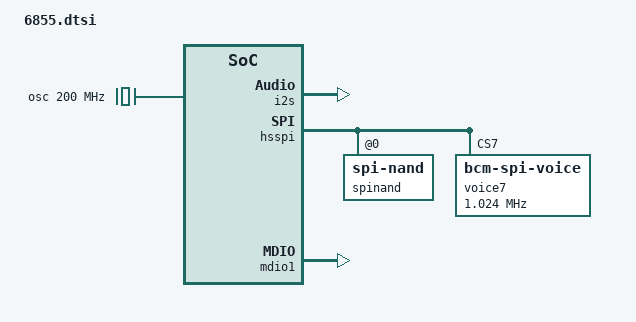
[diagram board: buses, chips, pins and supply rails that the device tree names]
/dts-v1/;

#include "linux_autoconf.h"

#include <dt-bindings/interrupt-controller/arm-gic.h>
#include <dt-bindings/interrupt-controller/irq.h>

#include "../../boot_rsvdmem.dtsi"
#include "../../bcm_thermal.dtsi"

/ {
	#define MODEL "Broadcom BCM96855"
	#define COMPATIBLE "brcm,bcm96855"

	/* memory reservations */
	#include "../../bcm_rsvdmem.dtsi"		

	aliases {
		serial0		= &uart0;
		spi1		= &hsspi; /* 0 = legacy, 1 = high speed */
		hs_serial0	= &hs_uart0;
		spinand0	= &spinand;
		nand0		= &nand;
	};

	chosen {
		stdout-path = "serial0:115200n8";
		bootargs = "coherent_pool=2M cpuidle_sysfs_switch console=ttyAMA0,115200 earlyprintk  rootwait pci=pcie_bus_safe rng_core.default_quality=1024";
	};

	/* memc */
	memory_controller {
		#define MEMC_REG_NAMES	"memc-int-clear-reg", \
					"memc-int-mask-clear-reg",\
					"phyctl_idle_pad_ctl",  \
					"phyctl_idle_pad_en0",  \
					"phyctl_idle_pad_en1",  \
					"phybl0_idle_pad_ctl",  \
					"phybl1_idle_pad_ctl",  \
					"phybl2_idle_pad_ctl",  \
					"phybl3_idle_pad_ctl",  \
					"phybl0_clock_idle",    \
					"phybl1_clock_idle",    \
					"phybl2_clock_idle",    \
					"phybl3_clock_idle",    \
					"auto_self_refresh",    \
					"glb_gcfg"

		#define MEMC_REG	<0x80180E08 4>, \
					<0x80180E14 4>, \
					<0x801A0034 4>, \
					<0x801A0038 4>, \
					<0x801A003C 4>, \
					<0x801A04AC 4>, \
					<0x801A06AC 4>, \
					<0x801A08AC 4>, \
					<0x801A0AAC 4>, \
					<0x801A04E0 4>, \
					<0x801A06E0 4>, \
					<0x801A08E0 4>, \
					<0x801A0AE0 4>, \
					<0x8018025C 4>, \
					<0x80180004 4>

		#define MEMC_CPU_INT_LINE		19

		#include "../../ip/memc.dtsi"
	};

	/* wan type auto detect */
	wantype_detect {
		#define GPON_GENERAL_CONFIG_ADDR	0x828B9000
		#define GPON_GENERAL_CONFIG_SIZE	0x10
		#define EPON_TOP_ADDR			0x828B4000
		#define EPON_TOP_SIZE			0x1C
		#define EPON_LIF_ADDR			0x828B5800
		#define EPON_LIF_SIZE			0x110
		#define EPON_XPCSR_ADDR			0x828B7000
		#define EPON_XPCSR_SIZE			0x124
		#define NGPON_RXGEN_ADDR		0x828BC000
		#define NGPON_RXGEN_SIZE		0x80
		#include "../../ip/bcm_wantype_detect.dtsi"
	};

#if defined(CONFIG_BCM_PCIE_HCD) || defined (CONFIG_BCM_PCIE_HCD_MODULE)
	/* pcie common */
	pcie: pcie {
		compatible = "brcm,bcm-pcie";
		device_type = "cpci";
		brcm,pllclkid = <0x0>;
	};

	/* Internal WiFi Core 0 (virtual pcie with domain#0) */
	vpcie0: vpcie@0 {
		#define WIFI_COREID			0
		#define WIFI_ADDR			0x84000000
		#define WIFI_SIZE			0x01000000
		#define WIFI_DEVID			0x6756
		#define WIFI_CCM_SPI		46
		#define WIFI_D11MAC_SPI		47
		#define WIFI_M2MDMA_SPI		48
		#define WIFI_WDRST_SPI		49
		#include "../../ip/bcm_wifi_core.dtsi"
	};

	/* pcie core 0 */
	pcie0: pcie@0 {
		#define PCIE_ID				0
		#define PCIE_DOMAIN_ID			1
		#define PCIE_SPI			43
		#define PCIE_ADDR			0x80040000
		#define PCIE_SIZE			0x0000A000
		#define PCIE_RANGE_ADDR		0xC0000000
		#define PCIE_RANGE_SIZE		0x10000000
		#include "../../ip/bcm_pcie_core.dtsi"
	};

	/* pcie core 1 */
	pcie1: pcie@1 {
		#define PCIE_ID				1
		#define PCIE_DOMAIN_ID			2
		#define PCIE_SPI			44
		#define PCIE_ADDR			0x80050000
		#define PCIE_SIZE			0x0000A000
		#define PCIE_RANGE_ADDR		0xD0000000
		#define PCIE_RANGE_SIZE		0x10000000
		#include "../../ip/bcm_pcie_core.dtsi"
	};
#endif // defined(CONFIG_BCM_PCIE_HCD) || defined (CONFIG_BCM_PCIE_HCD_MODULE)

	misc_io {
		compatible = "brcm,misc-io";
		misc-periph-chip-id-rev = <0xff800000 0x4>;
		misc-periph-chip-id-mask = <0xfffff000>;
		misc-periph-chip-id-shift = <12>;
		misc-periph-chip-rev-mask = <0xfff>;
		misc-top-chip-id-lc =  <0xff85a034 0x4>;
	};

	/* PMC */
	pmc: pmc {
		#define PMC_REG_OFFSET              0xffb20060
		#define PMC_REG_SIZE                0x1e0
		#include "../../ip/bcm_pmc_lite.dtsi"
	};

	cci: cci {
		#define CCI_OFFSET					0x81100000 
		#define CCI_SIZE					0x8000
		#define SLAVEINTF_CPU_NUM			1
		#include "../../ip/bcm_arm_cci500.dtsi"
	};

    /* usb */
    usb_ctrl: usb_ctrl {
        #define USB_CTRL_ADDR       0x8000c200
        #define USB_CTRL_SIZE       0x100
        #include "../../ip/bcm_usb_ctrl.dtsi"
    };

	usb0_xhci: usb0_xhci {
		#define USB_ADDR            0x8000d000
		#define USB_SIZE            0x1000
		#define USB_IRQ             74
		#include "../../ip/bcm_usb_xhci.dtsi"

		xhci_port: port@1{
			reg = <1>;
			#trigger-source-cells = <0>;
		};
	};

    usb0_ehci: usb0_ehci {
        #define USB_ADDR            0x8000c300
        #define USB_SIZE            0x100
        #define USB_IRQ             73
        #include "../../ip/bcm_usb_ehci.dtsi"

 		ehci0_port: port@1{
			reg = <1>;
			#trigger-source-cells = <0>;
		};
    };

    usb1_ehci: usb1_ehci {
        #define USB_ADDR            0x8000c500
        #define USB_SIZE            0x100
        #define USB_IRQ             73
        #include "../../ip/bcm_usb_ehci.dtsi"

		ehci1_port: port@1{
			reg = <1>;
			#trigger-source-cells = <0>;
		};
    };

    usb0_ohci: usb0_ohci {
        #define USB_ADDR            0x8000c400
        #define USB_SIZE            0x100
        #define USB_IRQ             72
        #include "../../ip/bcm_usb_ohci.dtsi"

 		ohci0_port: port@1{
			reg = <1>;
			#trigger-source-cells = <0>;
		};
    };

    usb1_ohci: usb1_ohci {
        #define USB_ADDR            0x8000c600
        #define USB_SIZE            0x100
        #define USB_IRQ             72
        #include "../../ip/bcm_usb_ohci.dtsi"

 		ohci1_port: port@1{
			reg = <1>;
			#trigger-source-cells = <0>;
		};
    };

	/* clocks */
	#define PERIPH_CLK			200000000
	#define HS_SPI_PLL_CLK		200000000
	#include "../../ip/bcm_clocks.dtsi"

	/* UBUS */
	ubus: ubus {
		compatible = "simple-bus";
		#address-cells = <1>;
		#size-cells = <1>;
		ranges;

		ubus_sys: ubus_sys {
			#address-cells = <1>;
			#size-cells = <1>;
			#define UBUS_SYSTOP_OFFSET         0x83000000
			#define UBUS_SYSTOP_SIZE           0x80
			#define UBUS_REGISTRATION_OFFSET   0x83000200
			#define UBUS_REGISTRATION_SIZE     0x80
			#define UBUS_COHERENCY_PORT_OFFSET 0x810A0400
			#define UBUS_COHERENCY_PORT_SIZE   0x400
			#define UBUS_MODULE_XRDP           0x0
			#include "../../ip/bcm_ubus4.dtsi"
			ubus_mst_sys: ubus_mst {
				reg-names = "BIU", "PER", "USB", "WIFI0",
					"PCIE0", "DMA0", "DMA1", "DMA2",
					"QM", "RQ0", "RQ1";
				reg = <0x83020000 0x1000>,
					<0x83010000 0x1000>,
					<0x83018000 0x1000>,
					<0x83050000 0x1000>,
					<0x83030000 0x1000>,
					<0x83078000 0x1000>,
					<0x8307C000 0x1000>,
					<0x83088000 0x1000>,
					<0x83070000 0x1000>,
					<0x8308C000 0x1000>,
					<0x83090000 0x1000>;
			};
		};

		ubus_dcm_sys: ubus_dcm_sys {
			#define UBUS_DCM_CLK_OFFSET  0x83000080
			#define UBUS_DCM_CLK_SIZE    0x80
			#define UBUS_MODULE_XRDP     0x0
			#include "../../ip/bcm_ubus4_dcm.dtsi"
		};
	};

	periph {
		compatible = "simple-bus";
		#address-cells = <1>;
		#size-cells = <1>;
		ranges = <0x0 0xff800000 0x100000>;

		/* boot state */
		boot_state: boot_state {
			#define RESET_REASON_OFFSET		0x2628
			#define RESET_REASON_SIZE		0x4
			#define RESET_STATUS_OFFSET		0x5a018
			#define RESET_STATUS_SIZE		0x4
			#include "../../ip/bcm_boot_state_v2.dtsi"
		};

		strap: strap {
			#define STRAP_REG_OFFSET            0x2600
			#define STRAP_REG_SIZE              0x4
			#include "../../ip/bcm_strap.dtsi"
			boot-select-0=<0 1>;
			boot-select-1=<1 1>;
			boot-select-2=<2 1>;
			boot-select-3=<3 1>;
			boot-select-4=<4 1>;
			boot-select-5=<5 1>;
			bootrom-boot=<12 1>;
		};

		dying_gasp: dying_gasp {
			#define DG_PERIPH_REG_OFFSET	0x5A004
			#define DG_PERIPH_REG_SIZE	0x4
			#define DG_UART_DR_OFFSET	0x12000
			#define DG_UART_DR_SIZE		0x4
			#include "../../ip/bcm_dgasp_periph.dtsi"
			interrupts = <GIC_SPI 28 IRQ_TYPE_LEVEL_HIGH>;
		};

		otp: otp {
			#define OTP_REG_OFFSET            0x2800 
			#define OTP_REG_SIZE              0x78
			#include "../../ip/bcm_otp.dtsi"
		};

		nand: nand {
			pinctrl-0 = <&nand_data_pins &nand_ctrl_pins>;
			pinctrl-names = "default";
			#define NAND_CTRL_OFFSET		0x1800
			#define NAND_CTRL_SIZE			0x400
			#define NAND_INTR_OFFSET		0x2000
			#define NAND_INTR_SIZE			0x10
			#define NAND_CACHE_OFFSET		0x1C00
			#define NAND_CACHE_SIZE			0x200
			#include "../../ip/bcm_nand7_1.dtsi"
		};

		/* EMMC */
		sdhci: sdhci {
			pinctrl-0 = <&emmc_ctrl_pins>;
			pinctrl-names="default";
			#define SDHCI_OFFSET			0x10000
			#define SDHCI_SIZE			0x100
			#define SDHCI_TOPCFG_OFFSET		0x10100
			#define SDHCI_TOPCFG_SIZE		0x100
			#define SDHCI_BOOT_OFFSET		0x10200
			#define SDHCI_BOOT_SIZE			0x40
			#define SDHCI_AHBSS_CTRL_OFFSET		0x10300
			#define SDHCI_AHBSS_CTRL_SIZE		0x100
			#define SDIO_EMMC_SPI			86
			#include "../../ip/bcm_sdhci.dtsi"
		};

		/* UART */
		uart0: serial0 {
			#define UART_OFFSET			0x12000
			#define UART_SIZE			0x1000
			#define UART_SPI			32
			#define UART_CLK_LABEL		refclk50mhz
			#define UART_CLK			50000000
			#include "../../ip/bcm_arm_uart.dtsi"
		};

		uart1: serial1 {
			#define UART_OFFSET			0x13000
			#define UART_SIZE			0x1000
			#define UART_SPI			33
			#define UART_CLK_LABEL		refclk50mhz
			#define UART_CLK			50000000
			#include "../../ip/bcm_arm_uart.dtsi"
		};

		hs_uart0: hs_serial0 {
			#define UART_OFFSET			0x10400
			#define UART_SIZE			0x1E0
			#define UART_SPI			34
			#include "../../ip/bcm_hs_uart.dtsi"
		};

		rng: rng {
			#define RNG200_OFFSET		0x00000b80
			#define RNG200_SIZE			0x30
			#include "../../ip/bcm_rng200.dtsi"
		};

		/* i2c */
		i2c0: i2c0 {
			#define I2C_OFFSET			0x2100
			#define I2C_SIZE			0x60
			#include "../../ip/bcm_i2c_bus.dtsi"
		};

		i2c1: i2c1 {
			#define I2C_OFFSET			0x5a800
			#define I2C_SIZE			0x60
			#include "../../ip/bcm_i2c_bus.dtsi"
		};

		i2s: bcm63xx-i2s {
			compatible		= "brcm,bcm63xx-i2s";
			reg				= <0x2080 0x21>;
			interrupts		= <GIC_SPI 78 IRQ_TYPE_LEVEL_HIGH>;
			clocks			= <&i2sclk>, <&osc>;
			clock-names		= "i2sclk","i2sosc";
		};

		/* watchdog */
		wdt: watchdog {
			#define WATCHDOG_OFFSET		0x480
			#define WATCHDOG_SIZE		0x14
			#define WATCHDOG_TIMEOUT	80
			#include "../../ip/bcm_wdt.dtsi"
			interrupts = <GIC_SPI 16 IRQ_TYPE_LEVEL_HIGH>;
		};

		/* periph timers */
		timers: timers {
			#define TIMERS_OFFSET		0x400
			#define TIMERS__SIZE		0x48
			#define TIMER0_SPI			11
			#define TIMER1_SPI			12
			#define TIMER2_SPI			13
			#define TIMER3_SPI			14
			#include "../../ip/bcm_timer.dtsi"
		};

		/* watchdog reboot */
		wdt-reboot {
			compatible	= "wdt-reboot";
			wdt			= <&wdt>;
		};

		pincontroller: pinctrl {
			#define PINCTRL_OFFSET		0x554
			#define PINCTRL_SIZE		0xc
			#define PINCTRL_NUM_PINS	105
			#define PINCTRL_NUM_FUNC	8
			#define PINCTRL_GPIO_FUNC	4
			#include "../../ip/bcm_bca_pinctrl.dtsi"
			#include "6855_pinctrl.dtsi"
		};

		/* gpio */
		gpioc: gpioc {
			#define GPIO_DIR_OFFSET		0x500
			#define GPIO_DIR_SIZE		0x20
			#define GPIO_DATA_OFFSET	0x520
			#define GPIO_DATA_SIZE		0x20
			#define NUM_OF_GPIOS		105
			#include "../../ip/bcm_bca_gpio.dtsi"
		};

		/* external interrups */
		bca_extintr: bca_extintr0 {
			#define EXTINTR_OFFSET		0x4
			#define EXTINTR_SIZE		0x48
			#define MAX_EXT_INTR		8
			#include "../../ip/bcm_bca_extintr.dtsi"
			external_interrupts = <120 121 122 123 124 125 126 127>;
		};

		/* HS SPI */
		hsspi: spi {
			pinctrl-0 = <&spim_group_pins>;
			pinctrl-names = "default";
			#define HS_SPI_OFFSET		0x1000
			#define HS_SPI_SIZE			0x600
			#define SPIM_CTRL_OFFSET	0x2610
			#define SPIM_CTRL_SIZE		0x4			
			#define HS_SPI_MAX_FREQ		100000000
			#include "../../ip/bcm_bca_hsspi.dtsi"

			spinand: spi-nand@0 {
				#define SPINAND_MAX_FREQ	50000000
				#include "../../ip/bcm_spinand.dtsi"
			};

			voice7 {
				pinctrl-0 = <&pcm_sdin_pin_22 &pcm_sdout_pin_23 &pcm_clk_pin_24 &pcm_fs_pin_25>;
				pinctrl-names = "default";
				compatible = "bcm-spi-voice";
				reg = <7>; /* chip select 7 */
				spi-index = <7>;/* ZSI/ISI header position index */
				spi-max-frequency = <1024000>;
			};
		};

		bcm63xx-apm-pcm {
			compatible = "brcm,bcm63xx-apm-pcm";
			reg = <0x60000 0x1c60>;
			interrupts = <GIC_SPI 116 IRQ_TYPE_LEVEL_HIGH>;
		};		

		/* Led Controller */
		led_ctrl: led_ctrl {
			#define CLED_GLBL_CTRL_OFFSET           0x3000
			#define CLED_GLBL_CTRL_SIZE             0x4
			#define CLED_HW_EN_OFFSET               0x3004
			#define CLED_HW_EN_SIZE                 0x4
			#define CLED_SER_SHIFT_OFFSET           0x3008
			#define CLED_SER_SHIFT_SIZE             0x4
			#define CLED_HW_POLARITY_OFFSET         0x300c
			#define CLED_HW_POLARITY_SIZE           0x4
			#define CLED_SW_SET_OFFSET              0x3010
			#define CLED_SW_SET_SIZE                0x4
			#define CLED_SW_POLARITY_OFFSET         0x3014
			#define CLED_SW_POLARITY_SIZE           0x4
			#define CLED_CH_ACTIVATE_OFFSET         0x301c
			#define CLED_CH_ACTIVATE_SIZE           0x4
			#define CLED_XX_CONFIG_OFFSET           0x3020
			#define CLED_XX_CONFIG_SIZE             0x200
			#define CLED_SW_CLEAR_OFFSET            0x3444
			#define CLED_SW_CLEAR_SIZE              0x4
			#define CLED_SW_STATUS_OFFSET           0x3448
			#define CLED_SW_STATUS_SIZE             0x4
			#define CLED_OUT_MUX_OFFSET             0x3460
			#define CLED_OUT_MUX_SIZE               0x20
			#define CLED_SERIAL_POLARITY_OFFSET     0x3454
			#define CLED_SERIAL_POLARITY_SIZE       0x4
			#define CLED_PARALLEL_POLARITY_OFFSET   0x3018
			#define CLED_PARALLEL_POLARITY_SIZE     0x4
			#define MAX_SUPPORTED_LEDS              32

			status = "okay";
			#include "../../ip/bcm_cled_ctrl.dtsi"
			#include "6855_leds.dtsi"
		};
	};

	legacy_leds: legacy_leds {
		compatible = "brcm,legacy-led";
 	};
		
    xrdpled {
		compatible = "brcm,xrdp-led";
		reg = <0x828a0200 0x80>;
    };

    unimac {
        compatible = "brcm,unimac3";
        reg = <0x828a8000 0x6000>,
              <0x828b0000 0x1800>;
        conf_offset = <0x1000>;
        mib_offset = <0x400>;
        top_offset = <0x400>;
    };

    egphy: egphy {
		compatible = "brcm,egphy";
        reg = <0x828ba204 0x0c>;
    };

    sgmii {
		compatible = "brcm,sgmii";
        reg = <0x828ba280 0x14>;
    };

    mdio1 {
		compatible = "brcm,mdio1";
        reg = <0xff802060 0x10>;
    };

	rgmii: rgmii {
        compatible = "brcm,rgmii8";
        reg = <0x828a0300 0x44>,
              <0xff800500 0x78>,
              <0xff85a000 0x04>;
        status = "disabled";
	};

	mdio: mdio {
		compatible = "simple-bus";
		bus-type = "MDIO_V1";
		#address-cells = <1>;
		#size-cells = <0>;

		phy1:1 {
			compatible = "brcm,bcaphy";
			phy-type = "EGPHY";
			reg = <1>;
			status = "disabled";
		};

		phy2:2 {
			compatible = "brcm,bcaphy";
			phy-type = "EGPHY";
			reg = <2>;
			status = "disabled";
		};

		phy3:3 {
			compatible = "brcm,bcaphy";
			phy-type = "EGPHY";
			reg = <3>;
			status = "disabled";
		};

		phy4:4 {
			compatible = "brcm,bcaphy";
			phy-type = "EGPHY";
			reg = <4>;
			status = "disabled";
		};

		phy5:5 {
			compatible = "brcm,bcaphy";
			phy-type = "EGPHY";
			reg = <5>;
			status = "disabled";
		};

		phy_rgmii:rgmii {
			compatible = "brcm,bcaphy";
			phy-type = "EXT1";
			status = "disabled";
		};

		phy_detect:detect {
			compatible = "brcm,bcaphy";
			phy-type = "EXT3";
			status = "disabled";
		};

		phy_ext_serdes:ext_serdes {
			compatible = "brcm,bcaphy";
			phy-type = "EXT3";
			status = "disabled";
		};

		phy_serdes:serdes {
			compatible = "brcm,bcaphy";
			phy-type = "SGMII";
			reg = <6>;
			status = "disabled";
		};
	};

    wan_serdes_bus {
        compatible = "simple-bus";

        #address-cells = <1>;
        #size-cells = <0>;

        phy_wan_serdes: phy_wan_serdes {
            compatible = "brcm,bcaphy";
            phy-type = "PON";
            reg = <0>;
            status = "disabled";
        };
    };

	switch0: switch0 {
		compatible = "brcm,enet";
		label = "bcmsw";
		sw-type = "RUNNER_SW";

		ports {
			#address-cells = <1>;
			#size-cells = <0>;

			port_gphy0 {
				reg = <0>;
				mac-type = "UNIMAC";
				phy-handle = <&phy1>;
				phy-mode = "gmii";
				status = "disabled";
			};

			port_gphy1 {
				reg = <1>;
				mac-type = "UNIMAC";
				phy-handle = <&phy2>;
				phy-mode = "gmii";
				status = "disabled"; 
			};

			port_gphy2 {
				reg = <2>;
				mac-type = "UNIMAC";
				phy-handle = <&phy3>;
				phy-mode = "gmii";
				status = "disabled";
			};

			port_gphy3 {
				reg = <3>;
				mac-type = "UNIMAC";
				phy-handle = <&phy4>;
				phy-mode = "gmii";
				status = "disabled";
			};

			port_rgmii {
				reg = <4>;
				mac-type = "UNIMAC";
				phy-handle = <&phy_rgmii>;
				phy-mode = "rgmii";
				status = "disabled";
			};

			port_sgmii {
				reg = <5>;
				mac-type = "UNIMAC";
				phy-handle = <&phy_serdes>;
				phy-mode = "hsgmii";
				status = "disabled";
			};

			port_wan {
				reg = <6>;
				phy-handle = <&phy_wan_serdes>;
				phy-mode = "serdes";
				detect;
				is-wan;
 				is-wanconf-mux-ae;
 				is-wanconf-mux-pon;
				status = "disabled";
			};
		};
	};

    gpon_drv {
        compatible = "brcm,gpon-drv";
        reg = <0x828b8000 0x1b80>;
        interrupts = <GIC_SPI 99  IRQ_TYPE_LEVEL_HIGH>, /* INTERRUPT_WAN_GPON_RX */
                     <GIC_SPI 98  IRQ_TYPE_LEVEL_HIGH>; /* INTERRUPT_WAN_GPON_TX */
        interrupt-names = "gpon_rx", "gpon_tx";
    };
    ngpon_drv {
        compatible = "brcm,ngpon-drv";
        reg = <0x828bc000 0x9080>;
        interrupts = <GIC_SPI 107  IRQ_TYPE_LEVEL_HIGH>, /* INTERRUPT_WAN_XGRX */
                     <GIC_SPI 105  IRQ_TYPE_LEVEL_HIGH>, /* INTERRUPT_WAN_XGTX_INTR0 */
                     <GIC_SPI 106  IRQ_TYPE_LEVEL_HIGH>; /* INTERRUPT_WAN_XGTX_INTR1 */
        interrupt-names = "ngpon_rx", "ngpon_tx0", "ngpon_tx1";
    };
    wan_serdes {
        compatible = "brcm,pon-drv";
        status = "disabled";
        reg = <0x828ba000 0x0200>;
    };
    epon_drv {
        compatible = "brcm,epon-drv";
        reg = <0x828b4000 0x4000>;
    };

    rdpa_drv {
        compatible = "brcm,rdpa";
        reg = <0x82000000 0x1000000>;
        interrupts = <GIC_SPI 160 IRQ_TYPE_LEVEL_HIGH>, /* INTERRUPT_XRDP_FPM/INTERRUPT_XRDP_QUEUE_32 */
                     <GIC_SPI 128 IRQ_TYPE_LEVEL_HIGH>, /* INTERRUPT_XRDP_QUEUE_0 */
                     <GIC_SPI 129 IRQ_TYPE_LEVEL_HIGH>, /* INTERRUPT_XRDP_QUEUE_1 */
                     <GIC_SPI 130 IRQ_TYPE_LEVEL_HIGH>, /* INTERRUPT_XRDP_QUEUE_2 */
                     <GIC_SPI 131 IRQ_TYPE_LEVEL_HIGH>, /* INTERRUPT_XRDP_QUEUE_3 */
                     <GIC_SPI 132 IRQ_TYPE_LEVEL_HIGH>, /* INTERRUPT_XRDP_QUEUE_4 */
                     <GIC_SPI 133 IRQ_TYPE_LEVEL_HIGH>, /* INTERRUPT_XRDP_QUEUE_5 */
                     <GIC_SPI 134 IRQ_TYPE_LEVEL_HIGH>, /* INTERRUPT_XRDP_QUEUE_6 */
                     <GIC_SPI 135 IRQ_TYPE_LEVEL_HIGH>, /* INTERRUPT_XRDP_QUEUE_7 */
                     <GIC_SPI 136 IRQ_TYPE_LEVEL_HIGH>, /* INTERRUPT_XRDP_QUEUE_8 */
                     <GIC_SPI 137 IRQ_TYPE_LEVEL_HIGH>, /* INTERRUPT_XRDP_QUEUE_9 */
                     <GIC_SPI 138 IRQ_TYPE_LEVEL_HIGH>, /* INTERRUPT_XRDP_QUEUE_10 */
                     <GIC_SPI 139 IRQ_TYPE_LEVEL_HIGH>, /* INTERRUPT_XRDP_QUEUE_11 */
                     <GIC_SPI 140 IRQ_TYPE_LEVEL_HIGH>, /* INTERRUPT_XRDP_QUEUE_12 */
                     <GIC_SPI 141 IRQ_TYPE_LEVEL_HIGH>, /* INTERRUPT_XRDP_QUEUE_13 */
                     <GIC_SPI 142 IRQ_TYPE_LEVEL_HIGH>, /* INTERRUPT_XRDP_QUEUE_14 */
                     <GIC_SPI 143 IRQ_TYPE_LEVEL_HIGH>, /* INTERRUPT_XRDP_QUEUE_15 */
                     <GIC_SPI 144 IRQ_TYPE_LEVEL_HIGH>, /* INTERRUPT_XRDP_QUEUE_16 */
                     <GIC_SPI 145 IRQ_TYPE_LEVEL_HIGH>, /* INTERRUPT_XRDP_QUEUE_17 */
                     <GIC_SPI 146 IRQ_TYPE_LEVEL_HIGH>, /* INTERRUPT_XRDP_QUEUE_18 */
                     <GIC_SPI 147 IRQ_TYPE_LEVEL_HIGH>, /* INTERRUPT_XRDP_QUEUE_19 */
                     <GIC_SPI 148 IRQ_TYPE_LEVEL_HIGH>, /* INTERRUPT_XRDP_QUEUE_20 */
                     <GIC_SPI 149 IRQ_TYPE_LEVEL_HIGH>, /* INTERRUPT_XRDP_QUEUE_21 */
                     <GIC_SPI 150 IRQ_TYPE_LEVEL_HIGH>, /* INTERRUPT_XRDP_QUEUE_22 */
                     <GIC_SPI 151 IRQ_TYPE_LEVEL_HIGH>, /* INTERRUPT_XRDP_QUEUE_23 */
                     <GIC_SPI 152 IRQ_TYPE_LEVEL_HIGH>, /* INTERRUPT_XRDP_QUEUE_24 */
                     <GIC_SPI 153 IRQ_TYPE_LEVEL_HIGH>, /* INTERRUPT_XRDP_QUEUE_25 */
                     <GIC_SPI 154 IRQ_TYPE_LEVEL_HIGH>, /* INTERRUPT_XRDP_QUEUE_26 */
                     <GIC_SPI 155 IRQ_TYPE_LEVEL_HIGH>, /* INTERRUPT_XRDP_QUEUE_27 */
                     <GIC_SPI 156 IRQ_TYPE_LEVEL_HIGH>, /* INTERRUPT_XRDP_QUEUE_28 */
                     <GIC_SPI 157 IRQ_TYPE_LEVEL_HIGH>, /* INTERRUPT_XRDP_QUEUE_29 */
                     <GIC_SPI 158 IRQ_TYPE_LEVEL_HIGH>, /* INTERRUPT_XRDP_QUEUE_30 */
                     <GIC_SPI 159 IRQ_TYPE_LEVEL_HIGH>; /* INTERRUPT_XRDP_QUEUE_31 */
        interrupt-names = "fpm", "queue0", "queue1", "queue2", "queue3", "queue4", "queue5",
                          "queue6", "queue7", "queue8", "queue9", "queue10", "queue11", 
                          "queue12", "queue13", "queue14", "queue15", "queue16", "queue17",
                          "queue18", "queue19", "queue20", "queue21", "queue22", "queue23",
                          "queue24", "queue25", "queue26", "queue27", "queue28", "queue29",
                          "queue30", "queue31";
    };
};

&clocks {
	#address-cells = <1>;
	#size-cells    = <1>;
	ranges;

	i2s_clkmclk_syscon: i2s_clkmclk_syscon{
		compatible			= "brcm,i2s-audio-clkmclk-syscon", "syscon";
		reg					= <0xFF802080 0x4>;
	};
	osc: oscillator {
		#clock-cells		= <0>;
		compatible			= "fixed-clock";
		clock-frequency		= <200000000>;
	};

	i2sclk: i2sclk {
		#clock-cells		= <0>;
		compatible			= "brcm,i2s-clock";
		clocks				= <&osc>;
		clk-mclk-syscon		= <&i2s_clkmclk_syscon>;
		clock-output-names	= "i2s_clk";
	};

	uartclk: uartclk {
		compatible			= "fixed-clock";
		#clock-cells		= <0>;
		clock-frequency		= <50000000>;
	};
};

